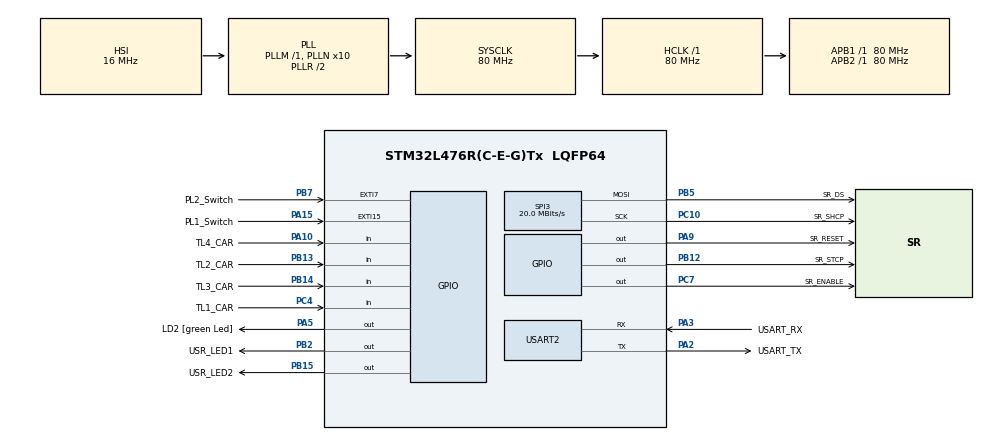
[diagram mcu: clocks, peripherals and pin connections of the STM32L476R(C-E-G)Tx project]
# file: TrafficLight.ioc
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FREERTOS.Tasks01=defaultTask,24,128,StartDefaultTask,Default,NULL,Dynamic,NULL,NULL;pollSwitchesTas,40,128,PollSwitchesTask,Default,NULL,Dynamic,NULL,NULL;updateLedsTask,40,128,UpdateLedsTask,Default,NULL,Dynamic,NULL,NULL;logicTask,8,128,LogicTask,Default,NULL,Dynamic,NULL,NULL;blinkNorthTask,24,128,BlinkNorthTask,Default,NULL,Dynamic,NULL,NULL
FREERTOS.configTOTAL_HEAP_SIZE=12000
FREERTOS.configUSE_NEWLIB_REENTRANT=1
Mcu.Family=STM32L4
Mcu.Name=STM32L476R(C-E-G)Tx
Mcu.Package=LQFP64
NVIC.EXTI15_10_IRQn=true\:5\:0\:false\:false\:true\:true\:true\:true\:true
NVIC.EXTI9_5_IRQn=true\:5\:0\:false\:false\:true\:true\:true\:true\:true
NVIC.PriorityGroup=NVIC_PRIORITYGROUP_4
NVIC.TIM1_UP_TIM16_IRQn=true\:15\:0\:false\:false\:true\:false\:false\:true\:true
NVIC.TimeBase=TIM1_UP_TIM16_IRQn
NVIC.TimeBaseIP=TIM1
PA10.GPIO_Label=TL4_CAR
PA10.Signal=GPIO_Input
PA13\ (JTMS-SWDIO).GPIO_Label=TMS
PA13\ (JTMS-SWDIO).Mode=Serial_Wire
PA13\ (JTMS-SWDIO).Signal=SYS_JTMS-SWDIO
PA14\ (JTCK-SWCLK).GPIO_Label=TCK
PA14\ (JTCK-SWCLK).Mode=Serial_Wire
PA14\ (JTCK-SWCLK).Signal=SYS_JTCK-SWCLK
PA15\ (JTDI).GPIO_Label=PL1_Switch
PA15\ (JTDI).GPIO_ModeDefaultEXTI=GPIO_MODE_IT_FALLING
PA15\ (JTDI).GPIO_PuPd=GPIO_PULLUP
PA15\ (JTDI).Signal=GPXTI15
PA2.GPIO_Label=USART_TX
PA2.GPIO_Mode=GPIO_MODE_AF_PP
PA2.GPIO_PuPd=GPIO_NOPULL
PA2.GPIO_Speed=GPIO_SPEED_FREQ_VERY_HIGH
PA2.Mode=Asynchronous
PA2.Signal=USART2_TX
PA3.GPIO_Label=USART_RX
PA3.GPIO_Mode=GPIO_MODE_AF_PP
PA3.GPIO_PuPd=GPIO_NOPULL
PA3.GPIO_Speed=GPIO_SPEED_FREQ_VERY_HIGH
PA3.Mode=Asynchronous
PA3.Signal=USART2_RX
PA5.GPIO_Label=LD2 [green Led]
PA5.GPIO_ModeDefaultOutputPP=GPIO_MODE_OUTPUT_PP
PA5.GPIO_PuPd=GPIO_NOPULL
PA5.GPIO_Speed=GPIO_SPEED_FREQ_LOW
PA5.Signal=GPIO_Output
PA9.GPIO_Label=SR_RESET
PA9.Signal=GPIO_Output
PB12.GPIO_Label=SR_STCP
PB12.Signal=GPIO_Output
PB13.GPIO_Label=TL2_CAR
PB13.Signal=GPIO_Input
PB14.GPIO_Label=TL3_CAR
PB14.Signal=GPIO_Input
PB15.GPIO_Label=USR_LED2
PB15.Signal=GPIO_Output
PB2.GPIO_Label=USR_LED1
PB2.Signal=GPIO_Output
PB3\ (JTDO-TRACESWO).GPIO_Label=SWO
PB3\ (JTDO-TRACESWO).Signal=SYS_JTDO-SWO
PB5.GPIO_Label=SR_DS
PB5.Mode=TX_Only_Simplex_Unidirect_Master
PB5.Signal=SPI3_MOSI
PB7.GPIO_Label=PL2_Switch
PB7.GPIO_ModeDefaultEXTI=GPIO_MODE_IT_FALLING
PB7.GPIO_PuPd=GPIO_PULLUP
PB7.Signal=GPXTI7
PC10.GPIO_Label=SR_SHCP
PC10.Mode=TX_Only_Simplex_Unidirect_Master
PC10.Signal=SPI3_SCK
PC14-OSC32_IN\ (PC14).Mode=LSE-External-Oscillator
PC14-OSC32_IN\ (PC14).Signal=RCC_OSC32_IN
PC15-OSC32_OUT\ (PC15).Mode=LSE-External-Oscillator
PC15-OSC32_OUT\ (PC15).Signal=RCC_OSC32_OUT
PC4.GPIO_Label=TL1_CAR
PC4.Signal=GPIO_Input
PC7.GPIO_Label=SR_ENABLE
PC7.Signal=GPIO_Output
PH0-OSC_IN\ (PH0).Signal=RCC_OSC_IN
PH1-OSC_OUT\ (PH1).Signal=RCC_OSC_OUT
ProjectManager.HeapSize=0x200
ProjectManager.StackSize=0x400
ProjectManager.TargetToolchain=STM32CubeIDE
RCC.ADCFreq_Value=64000000
RCC.AHBFreq_Value=80000000
RCC.APB1Freq_Value=80000000
RCC.APB1TimFreq_Value=80000000
RCC.APB2Freq_Value=80000000
RCC.APB2TimFreq_Value=80000000
RCC.CortexFreq_Value=80000000
RCC.HCLKFreq_Value=80000000
RCC.HSE_VALUE=8000000
RCC.HSI_VALUE=16000000
RCC.MSI_VALUE=4000000
RCC.PLLN=10
RCC.PLLSourceVirtual=RCC_PLLSOURCE_HSI
RCC.PREFETCH_ENABLE=1
RCC.SYSCLKFreq_VALUE=80000000
RCC.SYSCLKSource=RCC_SYSCLKSOURCE_PLLCLK
RCC.USBFreq_Value=64000000
RCC.VCOOutputFreq_Value=160000000
SPI3.BaudRatePrescaler=SPI_BAUDRATEPRESCALER_4
SPI3.CalculateBaudRate=20.0 MBits/s
SPI3.DataSize=SPI_DATASIZE_8BIT
SPI3.Direction=SPI_DIRECTION_2LINES
SPI3.Mode=SPI_MODE_MASTER
SPI3.VirtualType=VM_MASTER
USART2.VirtualMode-Asynchronous=VM_ASYNC
VP_FREERTOS_VS_CMSIS_V2.Mode=CMSIS_V2
VP_SYS_VS_tim1.Mode=TIM1
board=NUCLEO-L476RG

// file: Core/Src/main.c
/* USER CODE BEGIN Header */
/**
  ******************************************************************************
  * @file           : main.c
  * @brief          : Main program body
  ******************************************************************************
  * @attention
  *
  * Copyright (c) 2024 STMicroelectronics.
  * All rights reserved.
  *
  * This software is licensed under terms that can be found in the LICENSE file
  * in the root directory of this software component.
  * If no LICENSE file comes with this software, it is provided AS-IS.
  *
  ******************************************************************************
  */
/* USER CODE END Header */
#include "main.h"
#include "cmsis_os.h"
#include "spi.h"
#include "usart.h"
#include "gpio.h"

/* USER CODE BEGIN Includes */

#include "shield.h"
#include "low_level_test.h"

/* USER CODE END Includes */

void SystemClock_Config(void);
void MX_FREERTOS_Init(void);

int main(void)
{

  /* MCU Configuration--------------------------------------------------------*/

  /* Reset of all peripherals, Initializes the Flash interface and the Systick. */
  HAL_Init();

  /* Configure the system clock */
  SystemClock_Config();

  /* Initialize all configured peripherals */
  MX_GPIO_Init();
  MX_USART2_UART_Init();
  MX_SPI3_Init();
  /* USER CODE BEGIN 2 */
  SR_Init(); //initialize shift registers (probably unnecessary)

//  test_low_level(); //omment in/out to run tests

  /* USER CODE END 2 */

  /* Init scheduler */
  osKernelInitialize();

  /* Call init function for freertos objects (in cmsis_os2.c) */
  MX_FREERTOS_Init();

  /* Start scheduler */
  osKernelStart();

  /* We should never get here as control is now taken by the scheduler */

  /* Infinite loop */
  while (1)
  {

  }
}

void SystemClock_Config(void)
{
  RCC_OscInitTypeDef RCC_OscInitStruct = {0};
  RCC_ClkInitTypeDef RCC_ClkInitStruct = {0};

  /** Configure the main internal regulator output voltage
  */
  if (HAL_PWREx_ControlVoltageScaling(PWR_REGULATOR_VOLTAGE_SCALE1) != HAL_OK)
  {
    Error_Handler();
  }

  /** Initializes the RCC Oscillators according to the specified parameters
  * in the RCC_OscInitTypeDef structure.
  */
  RCC_OscInitStruct.OscillatorType = RCC_OSCILLATORTYPE_HSI;
  RCC_OscInitStruct.HSIState = RCC_HSI_ON;
  RCC_OscInitStruct.HSICalibrationValue = RCC_HSICALIBRATION_DEFAULT;
  RCC_OscInitStruct.PLL.PLLState = RCC_PLL_ON;
  RCC_OscInitStruct.PLL.PLLSource = RCC_PLLSOURCE_HSI;
  RCC_OscInitStruct.PLL.PLLM = 1;
  RCC_OscInitStruct.PLL.PLLN = 10;
  RCC_OscInitStruct.PLL.PLLP = RCC_PLLP_DIV7;
  RCC_OscInitStruct.PLL.PLLQ = RCC_PLLQ_DIV2;
  RCC_OscInitStruct.PLL.PLLR = RCC_PLLR_DIV2;
  if (HAL_RCC_OscConfig(&RCC_OscInitStruct) != HAL_OK)
  {
    Error_Handler();
  }

  /** Initializes the CPU, AHB and APB buses clocks
  */
  RCC_ClkInitStruct.ClockType = RCC_CLOCKTYPE_HCLK|RCC_CLOCKTYPE_SYSCLK
                              |RCC_CLOCKTYPE_PCLK1|RCC_CLOCKTYPE_PCLK2;
  RCC_ClkInitStruct.SYSCLKSource = RCC_SYSCLKSOURCE_PLLCLK;
  RCC_ClkInitStruct.AHBCLKDivider = RCC_SYSCLK_DIV1;
  RCC_ClkInitStruct.APB1CLKDivider = RCC_HCLK_DIV1;
  RCC_ClkInitStruct.APB2CLKDivider = RCC_HCLK_DIV1;

  if (HAL_RCC_ClockConfig(&RCC_ClkInitStruct, FLASH_LATENCY_4) != HAL_OK)
  {
    Error_Handler();
  }
}

void HAL_TIM_PeriodElapsedCallback(TIM_HandleTypeDef *htim)
{
  if (htim->Instance == TIM1) {
    HAL_IncTick();
  }
}

void Error_Handler(void)
{
  __disable_irq();
  while (1)
  {
  }
}

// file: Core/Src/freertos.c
/* USER CODE BEGIN Header */
/**
  ******************************************************************************
  * File Name          : freertos.c
  * Description        : Code for freertos applications
  ******************************************************************************
  * @attention
  *
  * Copyright (c) 2024 STMicroelectronics.
  * All rights reserved.
  *
  * This software is licensed under terms that can be found in the LICENSE file
  * in the root directory of this software component.
  * If no LICENSE file comes with this software, it is provided AS-IS.
  *
  ******************************************************************************
  */
/* USER CODE END Header */

#include "FreeRTOS.h"
#include "task.h"
#include "main.h"
#include "cmsis_os.h"

/* USER CODE BEGIN Includes */
#include "semphr.h"
#include "shield_abstraction.h"
#include "message_buffer.h"
/* USER CODE END Includes */

/* USER CODE BEGIN PTD */

typedef enum{
	START,
	CAR_GO, //cars have green light
	CAR_TO_PEDESTRIAN,
	PEDESTRIAN_GO, //pedestrians have green light
	PEDESTRIAN_TO_CAR
} task1_state_t;

/* USER CODE END PTD */

/* USER CODE BEGIN Variables */

led_registers_t leds;
traffic_state_t traffic;
task1_state_t state, nextState;

SemaphoreHandle_t ledBlock, trafficBlock, northPedestrianBlinkFlagBlock, westPedestrianBlinkFlagBlock;

MessageBufferHandle_t message_pedestrian_west, message_pedestrian_north;

//project task specific variables
uint16_t toggleFreq = 250; //[ms]
uint16_t pedestrianDelay = 5000; //[ms]
uint16_t walkingDelay = 3000; //[ms]
uint16_t orangeDelay = 1000; //[ms]

bool northPedestrianBlinkFlag = false;
bool westPedestrianBlinkFlag = false;

/* USER CODE END Variables */
/* Definitions for defaultTask */
osThreadId_t defaultTaskHandle;
const osThreadAttr_t defaultTask_attributes = {
  .name = "defaultTask",
  .stack_size = 128 * 4,
  .priority = (osPriority_t) osPriorityNormal,
};
/* Definitions for pollSwitchesTas */
osThreadId_t pollSwitchesTasHandle;
const osThreadAttr_t pollSwitchesTas_attributes = {
  .name = "pollSwitchesTas",
  .stack_size = 128 * 4,
  .priority = (osPriority_t) osPriorityHigh,
};
/* Definitions for updateLedsTask */
osThreadId_t updateLedsTaskHandle;
const osThreadAttr_t updateLedsTask_attributes = {
  .name = "updateLedsTask",
  .stack_size = 128 * 4,
  .priority = (osPriority_t) osPriorityHigh,
};
/* Definitions for logicTask */
osThreadId_t logicTaskHandle;
const osThreadAttr_t logicTask_attributes = {
  .name = "logicTask",
  .stack_size = 128 * 4,
  .priority = (osPriority_t) osPriorityLow,
};
/* Definitions for blinkNorthTask */
osThreadId_t blinkNorthTaskHandle;
const osThreadAttr_t blinkNorthTask_attributes = {
  .name = "blinkNorthTask",
  .stack_size = 128 * 4,
  .priority = (osPriority_t) osPriorityNormal,
};

/* USER CODE BEGIN FunctionPrototypes */
void task1_logic(void);
void test_logic(void);
/* USER CODE END FunctionPrototypes */

void StartDefaultTask(void *argument);
void PollSwitchesTask(void *argument);
void UpdateLedsTask(void *argument);
void LogicTask(void *argument);
void BlinkNorthTask(void *argument);

void MX_FREERTOS_Init(void); /* (MISRA C 2004 rule 8.1) */

void MX_FREERTOS_Init(void) {
  /* USER CODE BEGIN Init */
	led_registers_init(&leds);
	traffic_state_init(&traffic);
  /* USER CODE END Init */

  /* USER CODE BEGIN RTOS_MUTEX */
  /* add mutexes, ... */
	ledBlock = xSemaphoreCreateMutex();
	trafficBlock = xSemaphoreCreateMutex();
	northPedestrianBlinkFlagBlock = xSemaphoreCreateMutex();
	westPedestrianBlinkFlagBlock = xSemaphoreCreateMutex();
  /* USER CODE END RTOS_MUTEX */

  /* USER CODE BEGIN RTOS_QUEUES */
  /* add queues, ... */

	/*using message buffer to be able to get message from ISR*/
	message_pedestrian_north = xMessageBufferCreate( 10 );
	message_pedestrian_west = xMessageBufferCreate( 10 );

  /* USER CODE END RTOS_QUEUES */

  /* Create the thread(s) */
  /* creation of defaultTask */
  defaultTaskHandle = osThreadNew(StartDefaultTask, NULL, &defaultTask_attributes);

  /* creation of pollSwitchesTas */
  pollSwitchesTasHandle = osThreadNew(PollSwitchesTask, NULL, &pollSwitchesTas_attributes);

  /* creation of updateLedsTask */
  updateLedsTaskHandle = osThreadNew(UpdateLedsTask, NULL, &updateLedsTask_attributes);

  /* creation of logicTask */
  logicTaskHandle = osThreadNew(LogicTask, NULL, &logicTask_attributes);

  /* creation of blinkNorthTask */
  blinkNorthTaskHandle = osThreadNew(BlinkNorthTask, NULL, &blinkNorthTask_attributes);

}

void StartDefaultTask(void *argument)
{
  for(;;)
  {
    osDelay(1);
  }
}

/* USER CODE BEGIN Header_PollSwitchesTask */
/**
* @brief 	Function implementing the pollSwitchesTas thread. At regualr intervals, poll car switches and modify traffic state accordingly
* 			also check for messages in message buffer from ISR and modify traffic state to indicate pedestrian presence
* @param 	argument: Not used
* @retval 	None
*/
/* USER CODE END Header_PollSwitchesTask */
void PollSwitchesTask(void *argument)
{
  /* USER CODE BEGIN PollSwitchesTask */

	TickType_t xLastWakeTime;
	const TickType_t xPeriod = pdMS_TO_TICKS(10);
	xLastWakeTime = xTaskGetTickCount();

	uint8_t north_buf[10];
	uint8_t west_buf[10];

	/* Infinite loop */
	for(;;)
	{

		if( xSemaphoreTake(trafficBlock, (TickType_t)10) == pdTRUE ){

			//actually pool switches
			traffic.north_car = check_car(NORTH);
			traffic.west_car = check_car(WEST);
			traffic.south_car = check_car(SOUTH);
			traffic.east_car = check_car(EAST);

			//check message buffers from ISR (we don't care about the message itself just whether or not there is a message in the queue)
			if( xMessageBufferIsEmpty( message_pedestrian_north ) == pdFALSE ){
				xMessageBufferReceive( message_pedestrian_north, north_buf, 10, 1);
				traffic.north_pedestrian = true;
//				xMessageBufferReset( message_pedestrian_north );
			}

			if( xMessageBufferIsEmpty( message_pedestrian_west ) == pdFALSE ){
				xMessageBufferReceive( message_pedestrian_west, west_buf, 10, 1);
				traffic.west_pedestrian = true;
//				xMessageBufferReset( message_pedestrian_west );
			}

			xSemaphoreGive(trafficBlock);
		}

		vTaskDelayUntil(&xLastWakeTime, xPeriod);
	}
  /* USER CODE END PollSwitchesTask */
}

/* USER CODE BEGIN Header_UpdateLedsTask */
/**
* @brief Function implementing the updateLedsTask thread. Periodically send state of led over SPI to shift registers
* @param argument: Not used
* @retval None
*/
/* USER CODE END Header_UpdateLedsTask */
void UpdateLedsTask(void *argument)
{
  /* USER CODE BEGIN UpdateLedsTask */

	TickType_t xLastWakeTime;
	const TickType_t xPeriod = pdMS_TO_TICKS(20);
	xLastWakeTime = xTaskGetTickCount();

  /* Infinite loop */
	for(;;)
	{

		if( xSemaphoreTake(ledBlock, (TickType_t)10) == pdTRUE ){
			update_leds(&leds);
			xSemaphoreGive(ledBlock);
		}

		vTaskDelayUntil(&xLastWakeTime, xPeriod);

	}
  /* USER CODE END UpdateLedsTask */
}

/* USER CODE BEGIN Header_LogicTask */
/**
* @brief Function implementing the logicTask thread. Handles actual logic of the junction by invoking different logic functions for each project task (currently just task1 implenmented)
* @param argument: Not used
* @retval None
*/
/* USER CODE END Header_LogicTask */
void LogicTask(void *argument)
{
  /* USER CODE BEGIN LogicTask */

	TickType_t xLastWakeTime;
	const TickType_t xPeriod = pdMS_TO_TICKS(20);
	xLastWakeTime = xTaskGetTickCount();

	//initialize state for state machine
	state = START;
	nextState = START;

  /* Infinite loop */
	for(;;)
	{
//		test_logic(); //function used to test functionality of different tasks
		task1_logic();
		vTaskDelayUntil(&xLastWakeTime, xPeriod);
	}
  /* USER CODE END LogicTask */
}

/* USER CODE BEGIN Header_BlinkNorthTask */
/**
* @brief Function implementing the blinkNorthTask thread. Blinks the north pedestrian indicator led with a period of toggleFreq [ms] as long as the corresponding flag is true
* @param argument: Not used
* @retval None
*/
/* USER CODE END Header_BlinkNorthTask */
void BlinkNorthTask(void *argument)
{
  /* USER CODE BEGIN BlinkNorthTask */
	TickType_t xLastWakeTime;
	const TickType_t xPeriod = pdMS_TO_TICKS(toggleFreq);
	xLastWakeTime = xTaskGetTickCount();
	bool tempFlag = false;

  /* Infinite loop */
	for(;;)
	{
		//check flag (use tempFlag to avoid a little bit of nesting)
		if( xSemaphoreTake(northPedestrianBlinkFlagBlock, (TickType_t)10) == pdTRUE ){
			tempFlag = northPedestrianBlinkFlag;
			xSemaphoreGive(northPedestrianBlinkFlagBlock);
		}

		//if flag true -> toggle led
		if(tempFlag == true){
			if( xSemaphoreTake(ledBlock, (TickType_t)10) == pdTRUE ){
				set_led(&leds, NORTH, PEDESTRIAN_LIGHT, INDICATOR, TOGGLE);
				xSemaphoreGive(ledBlock);
			}
		}

		vTaskDelayUntil(&xLastWakeTime, xPeriod);

	}
  /* USER CODE END BlinkNorthTask */
}

/* USER CODE BEGIN Application */

/**
 * @brief : function containing the state machine used to handle the logic of task 1
 * @param : void
 * @return : void
 */
void task1_logic(void){

	//used to delay within state machine
	TickType_t time;
	TickType_t period;

	state = nextState;

	switch (state){
		case START:
			//init for CAR_GO state
			if( xSemaphoreTake(ledBlock, (TickType_t)10) == pdTRUE ){
				set_led_all(&leds, OFF);
				set_led(&leds, NORTH, TRAFFIC_LIGHT, GREEN, ON);
				set_led(&leds, SOUTH, TRAFFIC_LIGHT, GREEN, ON);
				set_led(&leds, NORTH, PEDESTRIAN_LIGHT, RED, ON);
				xSemaphoreGive(ledBlock);
			}
			nextState = CAR_GO;
			break;
		case CAR_GO:
			if( xSemaphoreTake(ledBlock, (TickType_t)10) == pdTRUE ){
				set_led_all(&leds, OFF);
				set_led(&leds, NORTH, TRAFFIC_LIGHT, GREEN, ON);
				set_led(&leds, SOUTH, TRAFFIC_LIGHT, GREEN, ON);
				set_led(&leds, NORTH, PEDESTRIAN_LIGHT, RED, ON);
				xSemaphoreGive(ledBlock);
			}

			//if pedestrian button has been pressed, go to CAR_TO_PEDESTRIAN state
			if( xSemaphoreTake(trafficBlock, (TickType_t)10) == pdTRUE ){
				if(traffic.north_pedestrian == true){
					nextState = CAR_TO_PEDESTRIAN;
				}

				xSemaphoreGive(trafficBlock);
			}
			break;
		case CAR_TO_PEDESTRIAN:
			//start blinking pedestrian indicator
			if( xSemaphoreTake(northPedestrianBlinkFlagBlock, (TickType_t)10) == pdTRUE ){
				northPedestrianBlinkFlag = true;
				xSemaphoreGive(northPedestrianBlinkFlagBlock);
			}

			//delay for  pedestrianDelay-orangeDelay ms
			period = pdMS_TO_TICKS(pedestrianDelay - orangeDelay);
			time = xTaskGetTickCount();
			vTaskDelayUntil(&time, period);

			//light orange car led, turn off red car led
			if( xSemaphoreTake(ledBlock, (TickType_t)10) == pdTRUE ){
				set_led(&leds, NORTH, TRAFFIC_LIGHT, GREEN, OFF);
				set_led(&leds, SOUTH, TRAFFIC_LIGHT, GREEN, OFF);
				set_led(&leds, NORTH, TRAFFIC_LIGHT, ORANGE, ON);
				set_led(&leds, SOUTH, TRAFFIC_LIGHT, ORANGE, ON);
				xSemaphoreGive(ledBlock);
			}

			//delay for orangeDelay ms
			period = pdMS_TO_TICKS(orangeDelay);
			time = xTaskGetTickCount();
			vTaskDelayUntil(&time, period);

			//stop blinking pedestrian indicator
			if( xSemaphoreTake(northPedestrianBlinkFlagBlock, (TickType_t)10) == pdTRUE ){
				northPedestrianBlinkFlag = false;
				xSemaphoreGive(northPedestrianBlinkFlagBlock);
			}

			//go to next state
			nextState = PEDESTRIAN_GO;
			break;
		case PEDESTRIAN_GO:

			//light correct leds
			if( xSemaphoreTake(ledBlock, (TickType_t)10) == pdTRUE ){
				set_led_all(&leds, OFF);
				set_led(&leds, NORTH, TRAFFIC_LIGHT, RED, ON);
				set_led(&leds, SOUTH, TRAFFIC_LIGHT, RED, ON);
				set_led(&leds, NORTH, PEDESTRIAN_LIGHT, GREEN, ON);
				xSemaphoreGive(ledBlock);
			}

			//delay for walkingDelay ms
			period = pdMS_TO_TICKS(walkingDelay);
			time = xTaskGetTickCount();
			vTaskDelayUntil(&time, period);

			nextState = PEDESTRIAN_TO_CAR;
			break;
		case PEDESTRIAN_TO_CAR:

			//turn off pedestrian green leds and light orange car leds and red pedestrian leds
			if( xSemaphoreTake(ledBlock, (TickType_t)10) == pdTRUE ){
				set_led(&leds, NORTH, TRAFFIC_LIGHT, ORANGE, ON);
				set_led(&leds, SOUTH, TRAFFIC_LIGHT, ORANGE, ON);
				set_led(&leds, NORTH, PEDESTRIAN_LIGHT, GREEN, OFF);
				set_led(&leds, NORTH, PEDESTRIAN_LIGHT, RED, ON);
				xSemaphoreGive(ledBlock);
			}

			/*
			assert that pedestrian flag is cleared
			effectively disregard any button presses made
			when pedestrian light was green or waiting to turn green
			*/
			if( xSemaphoreTake(trafficBlock, (TickType_t)10) == pdTRUE ){
				traffic.north_pedestrian = false;
				xSemaphoreGive(trafficBlock);
			}

			//delay for orangeDelay ms
			period = pdMS_TO_TICKS(orangeDelay);
			time = xTaskGetTickCount();
			vTaskDelayUntil(&time, period);

			nextState = CAR_GO;
			break;
		default:
			break;
	}

}

/**
 * @brief 	:	function for initial testing(/playing around) with previously implemented modules
 * @param	:	void
 * @return	:	void
 */
void test_logic(void){
	traffic_state_t temp_traffic;

	if( xSemaphoreTake(trafficBlock, (TickType_t)10) == pdTRUE ){
		temp_traffic = traffic;
		xSemaphoreGive(trafficBlock);
	}

	if( xSemaphoreTake(ledBlock, (TickType_t)10) == pdTRUE ){

		if(temp_traffic.north_pedestrian == true){
			if(xSemaphoreTake(northPedestrianBlinkFlagBlock, (TickType_t)10) == pdTRUE){
				northPedestrianBlinkFlag = true;
				xSemaphoreGive(northPedestrianBlinkFlagBlock);
			}
		}
		else{
			if(xSemaphoreTake(northPedestrianBlinkFlagBlock, (TickType_t)10) == pdTRUE){
				northPedestrianBlinkFlag = false;
				xSemaphoreGive(northPedestrianBlinkFlagBlock);
			}
		}

//		if(temp_traffic.west_pedestrian == true){
//			set_led(&leds, WEST, PEDESTRIAN_LIGHT, INDICATOR, ON);
//
//			if( xSemaphoreTake(trafficBlock, (TickType_t)10) == pdTRUE ){
//				traffic.west_pedestrian = false,
//				xSemaphoreGive(trafficBlock);
//			}
//
//		}
//		else{ set_led(&leds, WEST, PEDESTRIAN_LIGHT, INDICATOR, OFF); }

		if(temp_traffic.north_car == true){
			set_led(&leds, NORTH, TRAFFIC_LIGHT, GREEN, ON);
		}
		else{ set_led(&leds, NORTH, TRAFFIC_LIGHT, GREEN, OFF); }

		if(temp_traffic.west_car == true){
			set_led(&leds, WEST, TRAFFIC_LIGHT, GREEN, ON);
		}
		else{ set_led(&leds, WEST, TRAFFIC_LIGHT, GREEN, OFF); }

		if(temp_traffic.south_car == true){
			set_led(&leds, SOUTH, TRAFFIC_LIGHT, GREEN, ON);
		}
		else{ set_led(&leds, SOUTH, TRAFFIC_LIGHT, GREEN, OFF); }

		if(temp_traffic.east_car == true){
			set_led(&leds, EAST, TRAFFIC_LIGHT, GREEN, ON);
		}
		else{ set_led(&leds, EAST, TRAFFIC_LIGHT, GREEN, OFF); }

		xSemaphoreGive(ledBlock);
	}
}

/**
 * @brief: redefinition of callback for external interrupt
 * @param: uint16_t GPIO_Pin, pin identifier of pin invoking the interrupt
 * @return: void
 */
void HAL_GPIO_EXTI_Callback(uint16_t GPIO_Pin){
	uint8_t message[1];
	message[0] = 0x1;

	switch( GPIO_Pin ){
		case PL1_Switch_Pin:
			//HAL_GPIO_TogglePin(USR_LED1_GPIO_Port, USR_LED1_Pin);

			if( xMessageBufferIsEmpty( message_pedestrian_west ) == pdTRUE ){
				xMessageBufferSendFromISR( message_pedestrian_west, message, 1 , NULL);
			}

			break;
		case PL2_Switch_Pin:
			//HAL_GPIO_TogglePin(USR_LED2_GPIO_Port, USR_LED2_Pin);

			if( xMessageBufferIsEmpty( message_pedestrian_north ) == pdTRUE ){
				xMessageBufferSendFromISR( message_pedestrian_north, message, 1 , NULL);
			}

			break;
		default:
			break;
	}

}

/* USER CODE END Application */
